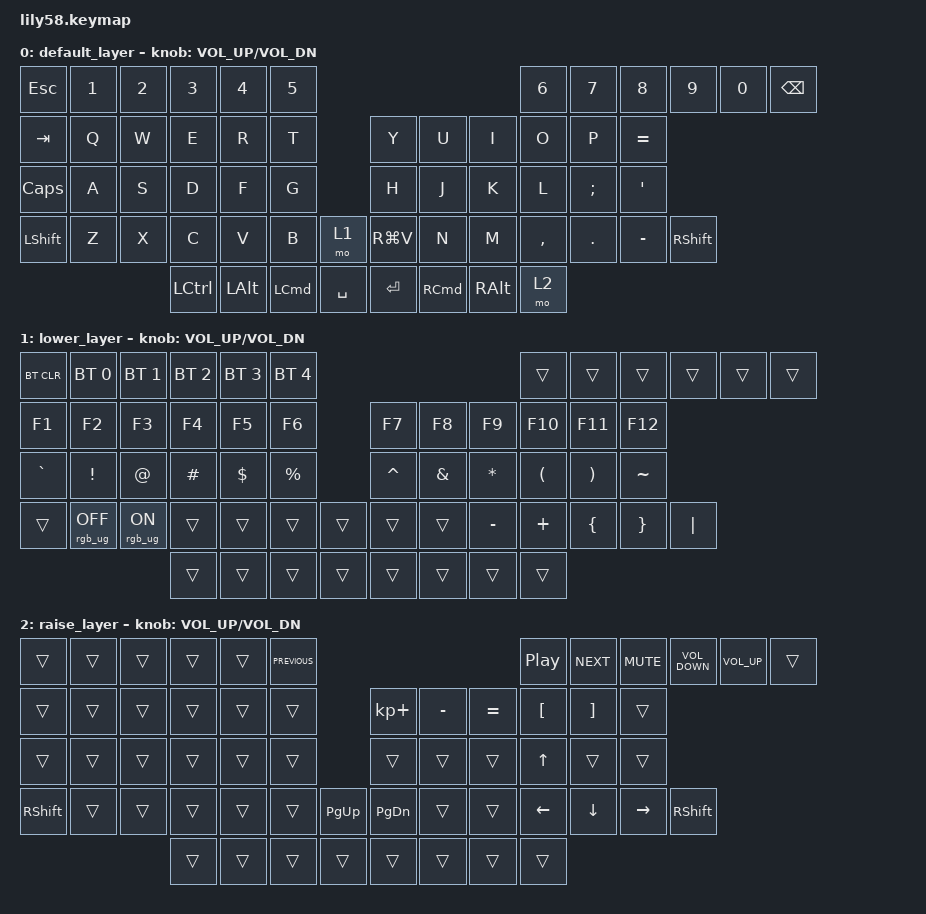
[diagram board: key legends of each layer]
/*
 * Copyright (c) 2020 The ZMK Contributors
 *
 * SPDX-License-Identifier: MIT
 */

#include <behaviors.dtsi>
#include <dt-bindings/zmk/keys.h>
#include <dt-bindings/zmk/bt.h>
#include <dt-bindings/zmk/ext_power.h>
#include <dt-bindings/zmk/rgb.h>
#include <dt-bindings/zmk/backlight.h>
#include <dt-bindings/led/led.h>

/ {
    keymap {
        compatible = "zmk,keymap";

        default_layer {
// ------------------------------------------------------------------------------------------------------------
// |  ESC  |  1  |  2  |  3   |  4   |  5   |                   |  6   |  7    |  8    |  9   |   0   |  BSPC |
// |  TAB  |  Q  |  W  |  E   |  R   |  T   |                   |  Y   |  U    |  I    |  O   |   P   |   =   |
// |  CAPS |  A  |  S  |  D   |  F   |  G   |                   |  H   |  J    |  K    |  L   |   ;   |   '   |
// | LSHFT |  Z  |  X  |  C   |  V   |  B   |  LOWER |  | PASTE |  N   |  M    |  ,    |  .   |   -   | SHIFT |
//                     | LCTRL  | ALT  | GUI | SPACE |  | ENTER | GUI  |  ALT  | RAISE |
            bindings = <
&kp ESC   &kp N1 &kp N2 &kp N3   &kp N4   &kp N5                     &kp N6 &kp N7   &kp N8    &kp N9  &kp N0   &kp BSPC
&kp TAB   &kp Q  &kp W  &kp E    &kp R    &kp T                      &kp Y  &kp U    &kp I     &kp O   &kp P    &kp EQUAL
&kp CAPS &kp A  &kp S  &kp D    &kp F    &kp G                      &kp H  &kp J    &kp K     &kp L   &kp SEMI &kp SQT
&kp LSHFT &kp Z  &kp X  &kp C    &kp V    &kp B  &mo 1   &kp RG(V) &kp N  &kp M    &kp COMMA &kp DOT &kp MINUS &kp RSHFT
                        &kp LCTRL &kp LALT &kp LEFT_COMMAND &kp SPACE  &kp RET  &kp RIGHT_COMMAND  &kp RALT &mo 2
            >;

            sensor-bindings = <&inc_dec_kp C_VOL_UP C_VOL_DN>;
        };

        lower_layer {
// ------------------------------------------------------------------------------------------------------------
// | BTCLR | BT1 | BT2 |  BT3 |  BT4 |  BT5 |                   |      |       |       |      |       |       |
// |  F1   |  F2 |  F3 |  F4  |  F5  |  F6  |                   |  F7  |  F8   |  F9   |  F10 |  F11  |  F12  |
// |   `   |  !  |  @  |  #   |  $   |  %   |                   |  ^   |  &    |  *    |  (   |   )   |   ~   |
// |       | OFF |  ON |      |      |      |        |  |       |      |  _    |  +    |  {   |   }   |  "|"  |
//                     |      |      |      |        |  |       |      |       |       |
            bindings = <
&bt BT_CLR &bt BT_SEL 0     &bt BT_SEL 1      &bt BT_SEL 2      &bt BT_SEL 3 &bt BT_SEL 4                 &trans    &trans    &trans    &trans    &trans    &trans
&kp F1     &kp F2           &kp F3            &kp F4            &kp F5       &kp F6                       &kp F7    &kp F8    &kp F9    &kp F10   &kp F11   &kp F12
&kp GRAVE  &kp EXCL         &kp AT            &kp HASH          &kp DOLLAR   &kp PRCNT                    &kp CARET &kp AMPS  &kp ASTRK &kp LPAR  &kp RPAR  &kp TILDE
&trans     &rgb_ug RGB_OFF   &rgb_ug RGB_ON &trans            &trans       &trans    &trans   &trans    &trans    &kp MINUS &kp PLUS  &kp LBRC  &kp RBRC  &kp PIPE
                                              &trans            &trans       &trans    &trans   &trans    &trans    &trans    &trans
            >;

            sensor-bindings = <&inc_dec_kp C_VOL_UP C_VOL_DN>;
        };

        raise_layer {
// ------------------------------------------------------------------------------------------------------------
// |       |     |     |      |      | PRVS |                   | PLAY | NEXT  | MUTE  | VOL- |  VOL+ |       |
// |   `   |     |     |      |      |      |                   |  +   |   -   |   =   |  [   |   ]   |       |
// |       |     |     |      |      |      |                   |      |       |       |  ^   |       |       |
// | RSHFT |     |     |      |      |      |PAGE_UP ||PAGE_DOWN|      |       |  <-   |  v   |  ->   | SHFT  |
//                     |      |      |      |        |  |       |      |       |       |
            bindings = <
&trans    &trans &trans &trans  &trans  &kp C_PREVIOUS                       &kp C_PLAY_PAUSE  &kp C_NEXT &kp C_MUTE &kp C_VOLUME_DOWN &kp C_VOLUME_UP &trans
&trans    &trans &trans &trans  &trans  &trans                       &kp KP_PLUS &kp MINUS &kp EQUAL &kp LBKT &kp RBKT  &trans
&trans    &trans &trans &trans  &trans  &trans                       &trans      &trans    &trans    &kp UP   &trans    &trans
&kp RSHFT &trans &trans &trans  &trans  &trans   &kp PAGE_UP  &kp PAGE_DOWN   &trans      &trans    &kp LEFT &kp DOWN &kp RIGHT  &kp RSHFT
                        &trans  &trans  &trans   &trans    &trans    &trans      &trans    &trans
            >;

            sensor-bindings = <&inc_dec_kp C_VOL_UP C_VOL_DN>;
        };
    };
};
